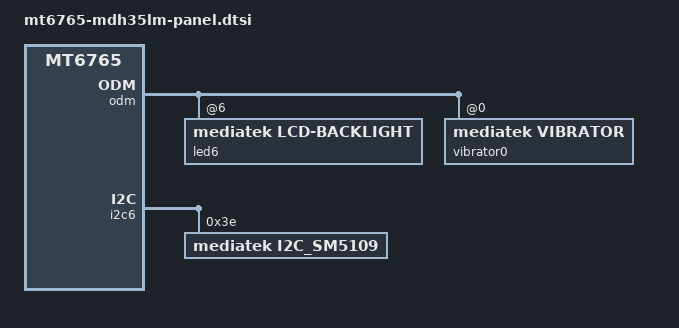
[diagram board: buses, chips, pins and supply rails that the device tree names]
/*
 * LG Electronics MT6765 HDK panel device tree source
 *
 * Copyright (c) 2018 LG Electronics Co., Ltd.
 *              http://www.lge.com
 *
 */

&odm {
	led0:led@0 {
		status = "disabled";
	};
	led1:led@1 {
		status = "disabled";
	};
	led2:led@2 {
		status = "disabled";
	};
	led3:led@3 {
		status = "disabled";
	};
	led4:led@4 {
		status = "disabled";
	};
	led5:led@5 {
		status = "disabled";
	};
	led6:led@6 {
		compatible = "mediatek,lcd-backlight";
		led_mode = <5>;
		data = <1>;
		pwm_config = <0 14 0 0 0>;
		lge.blmap-size = <256>;
		lge.blmap = <
			7 7 7 7 7 7 7 7 7 7 7 7 8 8 9 9 10 11 11 12
			12 13 13 14 15 15 16 16 17 18 18 19 19 20 20 21 22 22 23 23
			24 24 25 26 26 27 27 28 29 29 30 30 31 31 32 33 33 34 34 35
			36 38 40 42 44 46 49 51 53 55 57 59 62 64 66 68 70 72 75 77
			79 81 83 85 88 90 92 94 96 98 101 103 105 107 109 111 114 116 118 120
			122 124 127 129 131 133 135 137 140 143 147 151 155 158 162 166 170 173 177 181
			185 189 192 196 200 204 207 211 215 219 223 226 230 234 238 241 245 249 253 257
			260 264 268 272 275 279 283 287 291 294 298 302 306 309 313 317 321 325 330 336
			341 347 353 358 364 369 375 381 386 392 397 403 409 414 420 426 431 437 442 448
			454 459 465 470 476 482 487 493 498 504 510 515 521 527 532 538 543 549 555 560
			566 571 577 583 588 594 600 608 617 625 634 642 651 659 668 676 685 693 702 710
			719 727 736 744 753 761 770 778 787 795 804 812 821 829 838 846 855 863 872 880
			889 897 906 914 923 931 940 948 957 965 974 982 991 999 1008 1017
		>;
		lge.pwm_default_brightness = <678>;
	};
	vibrator0:vibrator@0 {
		compatible = "mediatek,vibrator";
		vib_timer = <25>;
		vib_limit = <9>;
		vib_vol= <11>;
	};
};

&i2c6 {
	i2c_sm5109@3e {
		compatible = "mediatek,i2c_sm5109";
		reg = <0x3e>;
		status = "okay";
		vpos = <6000>;
		vneg = <6000>;
		apps = <0>;
		active_discharge = <3>;
	};
};

&mtkfb {
	compatible = "mediatek,mtkfb";
	/* touch-reset-gpio = <&pio 164 0x00>; */
	pinctrl-names = "default",
			"lcm_rst_out0_gpio", "lcm_rst_out1_gpio",
			"lcm_ldo_out0_gpio", "lcm_ldo_out1_gpio",
			"lcd_bias_enp0_gpio", "lcd_bias_enp1_gpio",
			"lcd_bias_enn0_gpio", "lcd_bias_enn1_gpio";
	pinctrl-0 = <&disp_pins_default>;
	pinctrl-1 = <&disp_pins_lcm_rst0>;
	pinctrl-2 = <&disp_pins_lcm_rst1>;
	pinctrl-3 = <&disp_pins_lcd_ldo_en0>;
	pinctrl-4 = <&disp_pins_lcd_ldo_en1>;
	pinctrl-5 = <&disp_pins_vpos_en0>;
	pinctrl-6 = <&disp_pins_vpos_en1>;
	pinctrl-7 = <&disp_pins_vneg_en0>;
	pinctrl-8 = <&disp_pins_vneg_en1>;
};

&pio {
	disp_pins_default: disp_pins_default {
	};
	disp_pins_lcm_rst0: lcm_rst_out0_gpio {
		pins_cmd_dat {
			pinmux = <PINMUX_GPIO45__FUNC_GPIO45>;
			slew-rate = <1>;
			output-low;
		};
	};

	disp_pins_lcm_rst1: lcm_rst_out1_gpio {
		pins_cmd_dat {
			pinmux = <PINMUX_GPIO45__FUNC_GPIO45>;
			slew-rate = <1>;
			output-high;
		};
	};

	disp_pins_vpos_en0: lcd_bias_enp0_gpio {
		pins_cmd_dat {
			pinmux = <PINMUX_GPIO16__FUNC_GPIO16>;
			slew-rate = <1>;
			output-low;
		};
	};

	disp_pins_vpos_en1: lcd_bias_enp1_gpio {
		pins_cmd_dat {
			pinmux = <PINMUX_GPIO16__FUNC_GPIO16>;
			slew-rate = <1>;
			output-high;
		};
	};

	disp_pins_vneg_en0: lcd_bias_enn0_gpio {
		pins_cmd_dat {
			pinmux = <PINMUX_GPIO14__FUNC_GPIO14>;
			slew-rate = <1>;
			output-low;
		};
	};

	disp_pins_vneg_en1: lcd_bias_enn1_gpio {
		pins_cmd_dat {
			pinmux = <PINMUX_GPIO14__FUNC_GPIO14>;
			slew-rate = <1>;
			output-high;
		};
	};

	disp_pins_lcd_ldo_en0: lcm_ldo_out0_gpio {
		pins_cmd_dat {
			pinmux = <PINMUX_GPIO42__FUNC_GPIO42>;
			slew-rate = <1>;
			output-low;
		};
	};

	disp_pins_lcd_ldo_en1: lcm_ldo_out1_gpio {
		pins_cmd_dat {
			pinmux = <PINMUX_GPIO42__FUNC_GPIO42>;
			slew-rate = <1>;
			output-high;
		};
	};
};

&mt6370_pmu {
	bled {
		/* mt,ext_en_pin; */
		mt,chan_en  = <0xf>; /* bit 0 1 2 3 -> chan 1 2 3 4 */
		mt,map_linear;
		mt,bl_ovp_level = <3>;	/* 0: 17v */
					/* 1: 21v */
					/* 2: 25v */
					/* 3: 29v */
		mt,bl_ocp_level = <2>;	/* 0: 900mA */
					/* 1: 1200mA */
					/* 2: 1500mA */
					/* 3: 1800mA */
		mt,use_pwm;
		mt,pwm_fsample = <2>;	/* 0: 1MHz */
					/* 1: 4MHz */
					/* 2: or 3: 24mHz */
		mt,pwm_deglitch = <1>;	/* 0: no filter */
					/* 1: 100ns */
					/* 2: 160ns */
					/* 3: 200ns */
		mt,pwm_avg_cycle = <0>; /* 0: disable avg */
					/* 1: avg 2 cycle */
					/* 2: avg 4 cycle */
					/* 3: avg 8 cycle */
					/* 4: avg 16 cycle */
					/* 5: avg 32 cycle */
		mt,bled_ramptime = <3>; /* 0, 500us, 750us, 1ms, 2ms */
					/* 5ms, 10ms, 20ms, 50ms */
					/* 100ms, 250ms, 800ms */
					/* 1s, 2s, 4s, 8s */
		mt,bled_flash_ramp = <1>;	/* 0, 500us, 750us */
						/* 1ms, 2ms, 5ms */

		/* we have 11 bit resolution, quantize in driver */
		mt,max_bled_brightness = <678>; /* maximum 2047 */
	};
	dsv {
		db_ext_en = <0>;  /* 0 = i2c ctrl; 1 = ext pin */

		/* 1 = prevent from voltage drop when db is restart */
		db_periodic_fix = <0>;

		/* 0 : VOS & VNEG are ctrled by DB_ENP & DB_ENN*/
		/* 1 : single pin ctrl*/
		db_single_pin = <0>;

		/* 0 = 20Hz */
		/* 1 = 33Hz; valid if db_period_mode = 1 */
		db_freq_pm = <0>;

		/* 0 = always on if DB is enabled */
		/* 1 = DB period mode */
		db_periodic_mode = <0>;

		/* 0 = close loop, wait 80% */
		/* 1 = open loop, go after soft-start dimming */
		db_startup = <0>;

		/* 1 = DB VNEG discharge 20ms when shutdown */
		/* 0 = disable */
		db_vneg_20ms = <0>;

		/* 1 = Discharge VNEG when turn off */
		/* 0 = disable */
		db_vneg_disc = <0>;

		/* 1 = DB VPOS discharge 20ms when shutdown */
		/* 0 = disable */
		db_vpos_20ms = <0>;

		/* 1 = Discharge VPOS when turn off */
		/* 0 = disable */
		db_vpos_disc = <0>;

		db_delay = <3>;	/* 0 = no constraint */
				/* 1 = 0 ms */
				/* 2 = 1 ms */
				/* 3 = 4 ms */
		db_vbst  = <5700>;      /* mV */
		db_vpos_slew = <1>;	/* 0: 8.46 V/ms */
					/* 1: 5.79 V/ms */
					/* 2: 3.87 V/ms */
					/* 3: 2.97 V/ms */
		db_vneg_slew = <1>;	/* 0: -9.24V/ms */
					/* 1: -5.97V/ms */
					/* 2: -4.82V/ms */
					/* 3: -3.07V/ms */
		mt6370_dsvp {
			/* change name by yourself */
			regulator-name = "dsv_pos";

			regulator-min-microvolt = <4000000>;

			/* max == min then apply_uV = 1 */
			regulator-max-microvolt = <6000000>;

			/* optional*/
			/* regulator-microvolt-offset = <0>; */

			/* optional, exist = enabled */
			/* regulator-boot-on = "yes"; */

			/* optional, exist = enabled */
			/* regulator-always-on = "yes"; */

			/* optional */
			/* regulator-ramp-delay = <100>; */
		};
		mt6370_dsvn {
			/* change name by yourself */
			regulator-name = "dsv_neg";

			regulator-min-microvolt = <4000000>;

			/* max == min then apply_uV = 1 */
			regulator-max-microvolt = <6000000>;

			/* optional*/
			/* regulator-microvolt-offset = <0> */

			/* optional, exist = enabled */
			/* regulator-boot-on = "yes"; */

			/* optional, exist = enabled */
			/* regulator-always-on = "yes"; */

			/* regulator-ramp-delay = <100>; */
		};
	};
};
